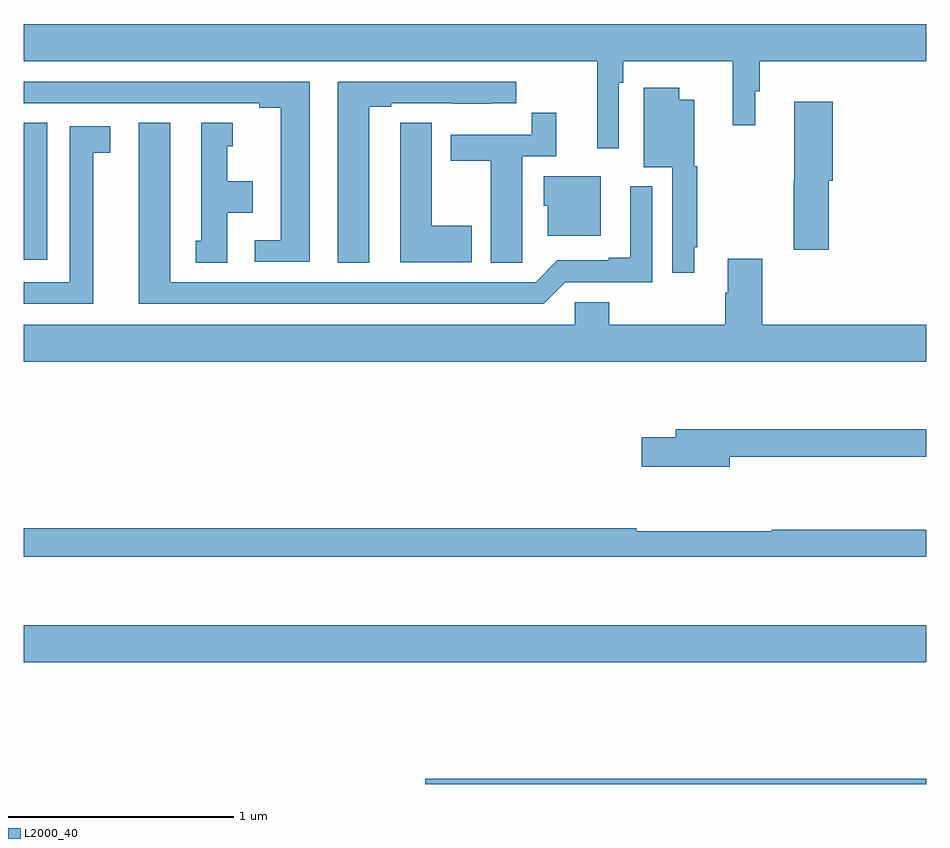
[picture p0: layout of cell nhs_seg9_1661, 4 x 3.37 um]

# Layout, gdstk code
import gdstk
lib = gdstk.Library(unit=1e-6, precision=1e-09)
def R(c, l, rs):  # rectangles x0, y0, x1, y1
    for r in rs: c.add(gdstk.rectangle(r[:2], r[2:], *l))
def P(c, l, *ps):  # polygons
    for p in ps: c.add(gdstk.Polygon(p, *l))
L2000_40 = (2000, 40)

nhs_seg9_1661 = lib.new_cell('nhs_seg9_1661')
R(nhs_seg9_1661, L2000_40, [(204.779,1242.5,207,1242.524), (203,1243.04,207,1243.204), (203,1244.823,203.104,1245.431)])
P(nhs_seg9_1661, L2000_40, [(205.638,1245.608),(205.658,1245.608),(205.658,1245.704),(206.143,1245.704),(206.143,1245.42),(206.242,1245.42),(206.242,1245.57),(206.261,1245.57),(206.261,1245.704),(207,1245.704),(207,1245.868),(203,1245.868),(203,1245.704),(205.541,1245.704),(205.541,1245.318),(205.638,1245.318)],
  [(204.268,1245.612),(203,1245.612),(203,1245.516),(204.044,1245.516),(204.044,1245.496),(204.14,1245.496),(204.14,1244.91),(204.024,1244.91),(204.024,1244.814),(204.268,1244.814)],
  [(204.532,1245.501),(204.628,1245.501),(204.628,1245.516),(204.904,1245.516),(204.904,1245.515),(205.07,1245.515),(205.07,1245.516),(205.183,1245.516),(205.183,1245.612),(204.392,1245.612),(204.392,1244.809),(204.532,1244.809)],
  [(205.972,1244.878),(205.984,1244.878),(205.984,1245.237),(205.972,1245.237),(205.972,1245.532),(205.906,1245.532),(205.906,1245.586),(205.748,1245.586),(205.748,1245.233),(205.875,1245.233),(205.875,1244.766),(205.972,1244.766)],
  [(206.567,1245.174),(206.585,1245.174),(206.585,1245.523),(206.414,1245.523),(206.414,1245.174),(206.413,1245.174),(206.413,1244.868),(206.567,1244.868)],
  [(205.209,1244.92),(205.21,1244.92),(205.21,1245.282),(205.361,1245.282),(205.361,1245.475),(205.252,1245.475),(205.252,1245.378),(204.893,1245.378),(204.893,1245.262),(205.07,1245.262),(205.07,1244.809),(205.209,1244.809)],
  [(204.985,1244.973),(204.808,1244.973),(204.808,1245.431),(204.669,1245.431),(204.669,1245.323),(204.668,1245.323),(204.668,1244.813),(204.985,1244.813)],
  [(203.902,1245.032),(204.016,1245.032),(204.016,1245.172),(203.902,1245.172),(203.902,1245.327),(203.926,1245.327),(203.926,1245.43),(203.786,1245.43),(203.786,1244.907),(203.762,1244.907),(203.762,1244.809),(203.902,1244.809)],
  [(205.401,1244.724),(205.785,1244.724),(205.785,1245.148),(205.688,1245.148),(205.688,1244.833),(205.592,1244.833),(205.592,1244.82),(205.365,1244.82),(205.269,1244.724),(203.65,1244.724),(203.65,1245.43),(203.51,1245.43),(203.51,1244.628),(205.305,1244.628)],
  [(203.308,1245.298),(203.383,1245.298),(203.383,1245.414),(203.204,1245.414),(203.204,1244.724),(203,1244.724),(203,1244.628),(203.308,1244.628)],
  [(205.558,1245.193),(205.304,1245.193),(205.304,1245.063),(205.322,1245.063),(205.322,1244.93),(205.558,1244.93)],
  [(207,1244.536),(206.273,1244.536),(206.273,1244.827),(206.12,1244.827),(206.12,1244.678),(206.108,1244.678),(206.108,1244.536),(205.595,1244.536),(205.595,1244.634),(205.443,1244.634),(205.443,1244.536),(203,1244.536),(203,1244.372),(207,1244.372)],
  [(206.128,1243.95),(207,1243.95),(207,1244.071),(205.889,1244.071),(205.889,1244.037),(205.74,1244.037),(205.74,1243.907),(206.128,1243.907)],
  [(207,1243.627),(206.314,1243.627),(206.314,1243.619),(205.714,1243.619),(205.714,1243.634),(203,1243.634),(203,1243.506),(207,1243.506)])

lib.write_gds('nhs_seg9_1661.gds')
